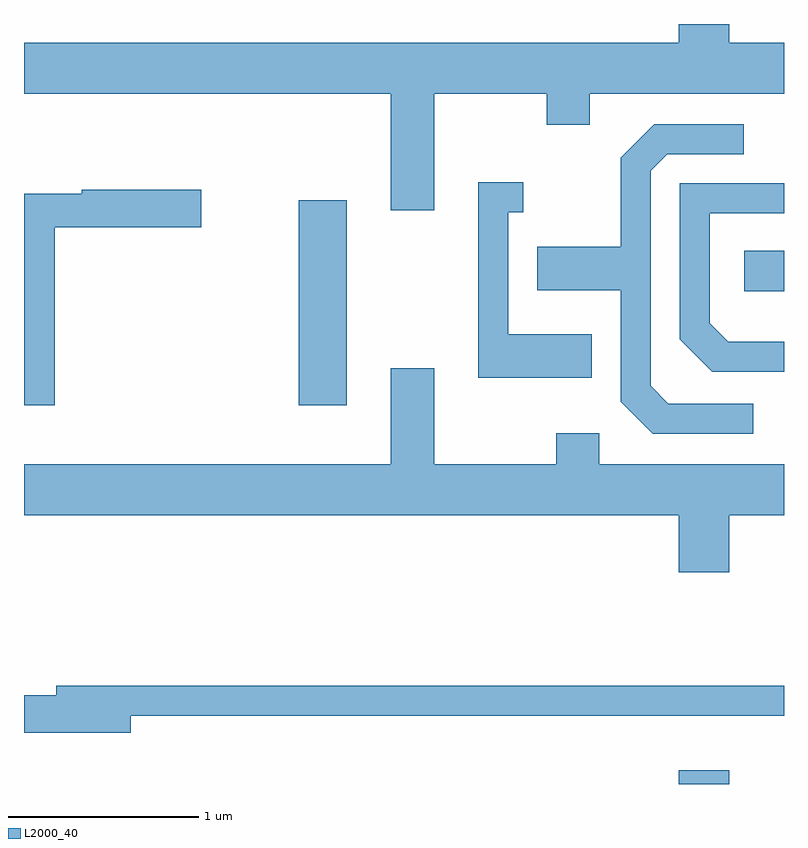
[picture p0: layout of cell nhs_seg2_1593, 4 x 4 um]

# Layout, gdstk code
import gdstk
lib = gdstk.Library(unit=1e-6, precision=1e-09)
def R(c, l, rs):  # rectangles x0, y0, x1, y1
    for r in rs: c.add(gdstk.rectangle(r[:2], r[2:], *l))
def P(c, l, *ps):  # polygons
    for p in ps: c.add(gdstk.Polygon(p, *l))
L2000_40 = (2000, 40)

nhs_seg2_1593 = lib.new_cell('nhs_seg2_1593')
R(nhs_seg2_1593, L2000_40, [(235.056,1035.802,235.324,1035.874), (233.056,1037.796,233.309,1038.874), (235.401,1038.396,235.611,1038.609)])
P(nhs_seg2_1593, L2000_40, [(233.769,1039.436),(234.361,1039.436),(234.361,1039.271),(234.589,1039.271),(234.589,1039.436),(235.611,1039.436),(235.611,1039.704),(235.324,1039.704),(235.324,1039.802),(235.056,1039.802),(235.056,1039.704),(231.611,1039.704),(231.611,1039.436),(233.541,1039.436),(233.541,1038.821),(233.769,1038.821)],
  [(235.448,1037.804),(235.002,1037.804),(234.909,1037.897),(234.909,1039.029),(234.997,1039.116),(235.398,1039.116),(235.398,1039.274),(234.929,1039.274),(234.751,1039.097),(234.751,1038.629),(234.311,1038.629),(234.311,1038.401),(234.751,1038.401),(234.751,1037.814),(234.919,1037.646),(235.448,1037.646)],
  [(234.599,1038.169),(234.159,1038.169),(234.159,1038.811),(234.238,1038.811),(234.238,1038.969),(234.001,1038.969),(234.001,1037.941),(234.599,1037.941)],
  [(235.611,1038.129),(235.317,1038.129),(235.219,1038.227),(235.219,1038.806),(235.611,1038.806),(235.611,1038.964),(235.061,1038.964),(235.061,1038.144),(235.234,1037.971),(235.611,1037.971)],
  [(231.774,1038.731),(232.544,1038.731),(232.544,1038.929),(231.916,1038.929),(231.916,1038.909),(231.611,1038.909),(231.611,1037.796),(231.774,1037.796)],
  [(235.324,1037.216),(235.611,1037.216),(235.611,1037.484),(234.639,1037.484),(234.639,1037.649),(234.411,1037.649),(234.411,1037.484),(233.769,1037.484),(233.769,1037.989),(233.541,1037.989),(233.541,1037.484),(231.611,1037.484),(231.611,1037.216),(235.056,1037.216),(235.056,1036.916),(235.324,1036.916)],
  [(232.174,1036.161),(235.611,1036.161),(235.611,1036.319),(231.781,1036.319),(231.781,1036.269),(231.611,1036.269),(231.611,1036.071),(232.174,1036.071)])

lib.write_gds('nhs_seg2_1593.gds')
